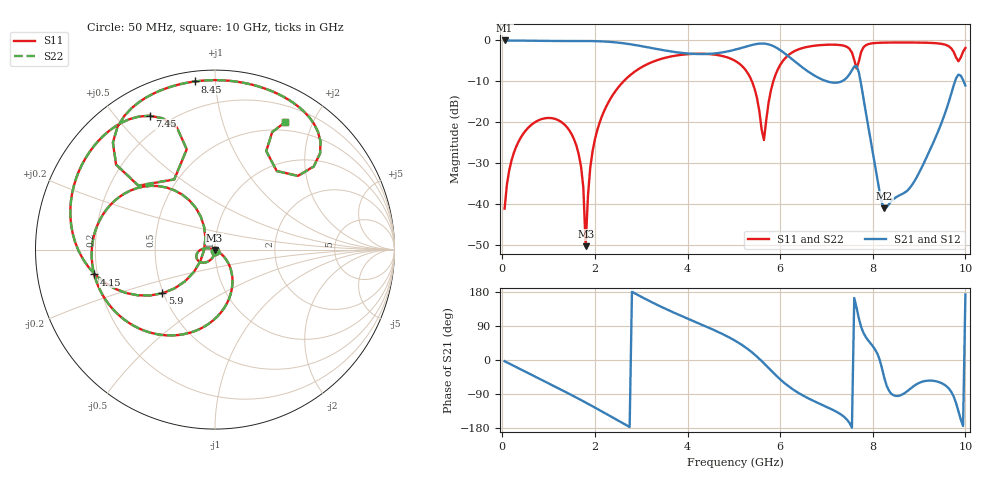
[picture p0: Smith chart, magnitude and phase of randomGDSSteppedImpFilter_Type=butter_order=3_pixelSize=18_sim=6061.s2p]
! freq	dB(S11)	phase(S11)	dB(S12)	phase(S12)
!  dB(S21)	phase(S21)	dB(S22)	phase(S22)
!S-par simulation data
#  GHz  S  DB  R 50
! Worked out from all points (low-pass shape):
!   200 points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, 50 MHz to 10 GHz, reference 50 ohm
!   highest |S21| = -0.01 dB at 50 MHz (marker M1); lowest = -40.9 dB at 8.25 GHz (marker M2)
!   |S21| within 3 dB of the highest: start of sweep to 3.845 GHz; 4.701 GHz to 6.08 GHz (1.379 GHz wide, 25.6 % of centre)
!   lowest |S11| = -50.2 dB at 1.8 GHz (marker M3), VSWR 1.01, Z = 49.7 - j0.136 ohm
!   |S11| at or under -10 dB: start of sweep to 2.618 GHz; 5.391 GHz to 5.851 GHz (460.1 MHz wide, 8.19 % of centre)
!   |S22| runs from -50.0 to -0.5 dB; largest |S21 - S12| = 0
!   S11 on the Smith chart (normalised r, x): 50 MHz: 1.00, -0.02; 4.15 GHz: 0.19, -0.10; 5.9 GHz: 0.49, -0.28; 7.45 GHz: 0.13, +0.62; 8.45 GHz: 0.05, +0.89; 10 GHz: 0.39, +1.62
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0.05  -41.04 -90.9  -0.01 -3.2  -0.01 -3.2  -41.04 -90.9
0.3  -25.93 -108.6  -0.04 -18.6  -0.04 -18.6  -25.93 -108.6
0.85  -19.19 -142.8  -0.12 -52.4  -0.12 -52.4  -19.19 -142.8
1.45  -21.99 -179.5  -0.14 -89.6  -0.14 -89.6  -21.99 -179.5
1.75  -35.87 166.2  -0.13 -108.9  -0.13 -108.9  -35.87 166.6
1.8  -50.20 -153.8  -0.14 -112.2  -0.14 -112.2  -49.99 -152.9
1.9  -30.96 -33.4  -0.15 -118.8  -0.15 -118.8  -30.96 -33.6
2.15  -18.55 -47.5  -0.23 -135.7  -0.23 -135.7  -18.55 -47.6
3.4  -4.61 -128.3  -2.23 142.3  -2.23 142.3  -4.61 -128.3
4.15  -3.26 -168.4  -3.29 101.4  -3.29 101.4  -3.26 -168.4
5.05  -5.13 141.9  -2.19 49.3  -2.19 49.3  -5.13 141.9
5.4  -10.22 117.4  -1.08 19.4  -1.08 19.4  -10.22 117.4
5.65  -24.30 -176.8  -0.77 -8.7  -0.77 -8.7  -24.25 -176.9
5.9  -8.37 -140.3  -1.65 -39.5  -1.65 -39.5  -8.37 -140.4
6.7  -1.35 158.3  -8.29 -106.7  -8.29 -106.7  -1.35 158.3
7.45  -1.62 116.0  -8.95 -158.3  -8.95 -158.3  -1.62 116.0
7.7  -5.10 140.2  -7.80 109.5  -7.80 109.5  -5.09 140.1
8.25  -0.53 105.0  -40.93 -47.7  -40.93 -47.7  -0.53 104.9
8.35  -0.52 100.8  -39.95 -80.9  -39.95 -80.9  -0.52 100.7
8.45  -0.51 96.7  -38.69 -93.0  -38.69 -93.0  -0.51 96.7
9.8  -4.17 41.6  -9.22 -114.1  -9.22 -114.1  -4.18 41.6
10  -1.84 61.2  -11.00 173.0  -11.00 173.0  -1.84 61.2
